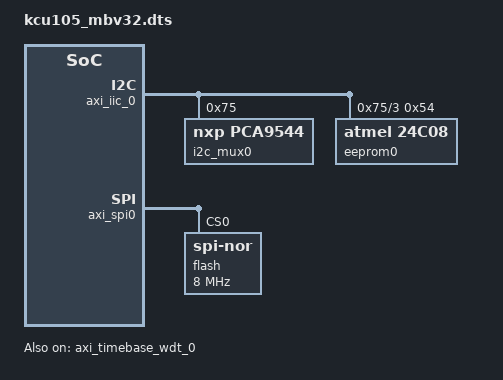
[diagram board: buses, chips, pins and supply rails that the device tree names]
// SPDX-License-Identifier: GPL-2.0
/*
 * dts file for AMD MicroBlaze V, Kintex-UltraScale KCU105
 *
 * (C) Copyright 2025, Advanced Micro Devices, Inc.
 *
 * Michal Simek <michal.simek@amd.com>
 */

#include "mbv32.dts"

/ {
	aliases {
		eeprom-0 = &eeprom0;
		i2c-channel-0 = &ch1;
		i2c-channel-1 = &ch3;
	};

	chosen {
		zephyr,sram = &lmb0;
	};
};

&cpu_0 {
	riscv,isa = "rv32imafdc";
};

&axi {
	axi_iic_0: i2c@40800000 {
		compatible = "xlnx,xps-iic-2.1";
		reg = <0x40800000 0x10000>;
		interrupt-parent = <&axi_intc>;
		interrupts = <2 2>;
		#address-cells = <1>;
		#size-cells = <0>;
		status = "okay";

		i2c_mux0: i2c-mux@75 {
			compatible = "nxp,pca9544", "ti,tca9544a";
			reg = <0x75>;
			#address-cells = <1>;
			#size-cells = <0>;

			ch1: i2c@1 {
				compatible = "ti,tca9544a-channel";
				#address-cells = <1>;
				#size-cells = <0>;
				reg = <1>;
			};

			ch3: i2c@3 {
				compatible = "ti,tca9544a-channel";
				#address-cells = <1>;
				#size-cells = <0>;
				reg = <3>;

				eeprom0: eeprom@54 {
					compatible = "atmel,24c08", "atmel,at24";
					reg = <0x54>;
					size = <1024>;
					pagesize = <16>;
					address-width = <8>;
					timeout = <5>;
				};
			};
		};
	};

	axi_timebase_wdt_0: watchdog@41a00000 {
		compatible = "xlnx,axi-timebase-wdt-3.0" , "xlnx,xps-timebase-wdt-1.00.a";
		reg = <0x41a00000 0x10000>;
		clocks = <&clk100>;
		xlnx,wdt-enable-once = <0x1>;
		status = "okay";
		xlnx,wdt-interval = <0x1e>;
	};

	axi_spi0: spi@44a00000 {
		status = "okay";
		#address-cells = <1>;
		#size-cells = <0>;
		fifo-size = <256>;
		reg = <0x44a00000 0x10000>;
		compatible = "xlnx,xps-spi-2.00.a";
		interrupt-parent = <&axi_intc>;
		xlnx,startup-block;
		interrupts = <3 0>;
		xlnx,num-ss-bits = <2>;
		xlnx,num-transfer-bits = <8>;
		flash@0 {
			compatible = "jedec,spi-nor";
			reg = <0>;
			spi-max-frequency = <8000000>;
			jedec-id = [20 bb 19]; /* n25q256 */
			size = <0x8000000>;
			has-dpd;
			t-enter-dpd = <10000>;
			t-exit-dpd = <35000>;
		};
	};
};
